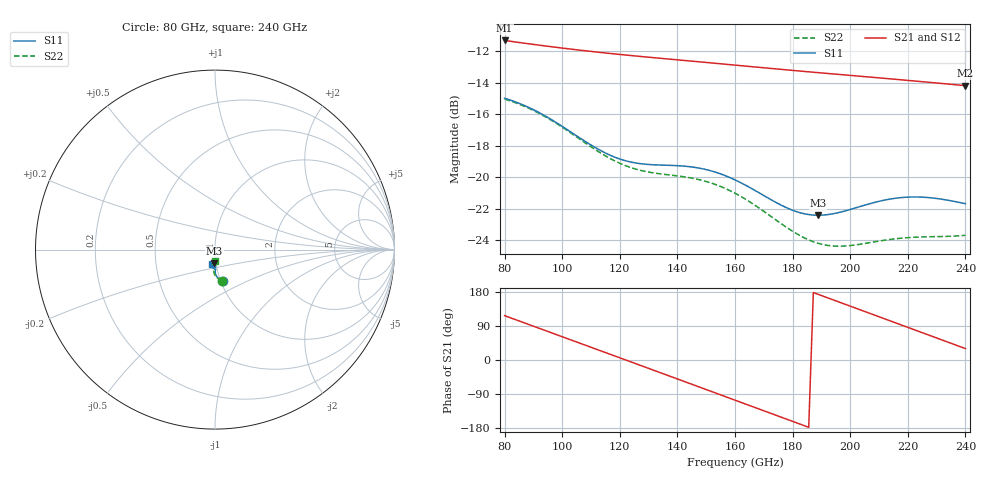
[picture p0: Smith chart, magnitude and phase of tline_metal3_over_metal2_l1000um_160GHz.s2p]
#  GHZ S DB R 50
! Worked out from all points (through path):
!   101 points, 80 GHz to 240 GHz, reference 50 ohm
!   highest |S21| = -11.34 dB at 80 GHz (marker M1); lowest = -14.2 dB at 240 GHz (marker M2)
!   group delay of S21, straight-line fit = 7.76 ps
!   lowest |S11| = -22.4 dB at 188.8 GHz (marker M3), VSWR 1.16, Z = 49 - j7.47 ohm
!   |S11| at or under -10 dB: start of sweep to end of sweep
!   |S22| runs from -24.4 to -15.1 dB; largest |S21 - S12| = 3e-13
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80  -15.00 -76.3  -11.34 117.0  -11.34 117.0  -15.06 -77.5
86.4  -15.42 -80.2  -11.50 99.2  -11.50 99.2  -15.47 -81.6
92.8  -15.99 -83.9  -11.65 81.4  -11.65 81.4  -16.03 -85.7
99.2  -16.68 -87.1  -11.80 63.6  -11.80 63.6  -16.74 -89.3
107.2  -17.64 -89.3  -11.97 41.4  -11.97 41.4  -17.73 -92.2
113.6  -18.33 -89.5  -12.10 23.6  -12.10 23.6  -18.49 -93.1
120  -18.84 -88.7  -12.22 5.8  -12.22 5.8  -19.11 -92.9
126.4  -19.12 -87.9  -12.34 -12.1  -12.34 -12.1  -19.53 -92.4
134.4  -19.23 -88.0  -12.47 -34.4  -12.47 -34.4  -19.79 -92.5
147.2  -19.41 -92.0  -12.68 -70.2  -12.68 -70.2  -20.14 -96.3
153.6  -19.70 -94.8  -12.79 -88.1  -12.79 -88.1  -20.48 -99.2
160  -20.17 -97.5  -12.90 -106.0  -12.90 -106.0  -21.01 -102.1
166.4  -20.78 -99.1  -13.01 -123.9  -13.01 -123.9  -21.71 -104.2
174.4  -21.61 -99.0  -13.14 -146.3  -13.14 -146.3  -22.73 -104.9
180.8  -22.14 -96.9  -13.25 -164.2  -13.25 -164.2  -23.51 -103.4
187.2  -22.39 -93.9  -13.35 178.0  -13.35 178.0  -24.08 -100.2
188.8  -22.40 -93.1  -13.37 173.5  -13.37 173.5  -24.18 -99.3
195.2  -22.27 -90.7  -13.48 155.6  -13.48 155.6  -24.36 -95.6
203.2  -21.87 -89.7  -13.60 133.2  -13.60 133.2  -24.25 -92.3
214.4  -21.36 -92.2  -13.78 101.8  -13.78 101.8  -23.92 -90.9
227.2  -21.29 -97.5  -13.98 66.0  -13.98 66.0  -23.77 -91.4
240  -21.67 -101.7  -14.20 30.1  -14.20 30.1  -23.68 -91.3
